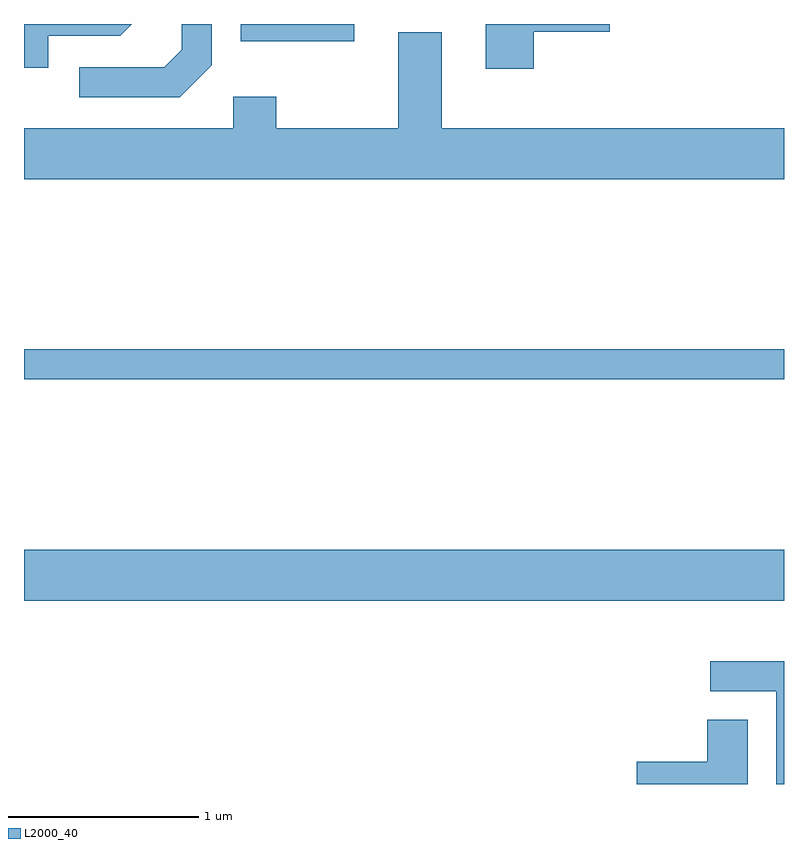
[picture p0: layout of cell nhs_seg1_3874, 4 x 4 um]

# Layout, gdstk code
import gdstk
lib = gdstk.Library(unit=1e-6, precision=1e-09)
def R(c, l, rs):  # rectangles x0, y0, x1, y1
    for r in rs: c.add(gdstk.rectangle(r[:2], r[2:], *l))
def P(c, l, *ps):  # polygons
    for p in ps: c.add(gdstk.Polygon(p, *l))
L2000_40 = (2000, 40)

nhs_seg1_3874 = lib.new_cell('nhs_seg1_3874')
R(nhs_seg1_3874, L2000_40, [(301.611,910.676,305.611,910.944), (301.611,911.841,305.611,911.999), (302.751,913.621,303.349,913.712)])
P(nhs_seg1_3874, L2000_40, [(302.599,913.494),(302.599,913.712),(302.441,913.712),(302.441,913.577),(302.349,913.484),(301.903,913.484),(301.903,913.326),(302.432,913.326)],
  [(304.294,913.671),(304.694,913.671),(304.694,913.712),(304.041,913.712),(304.041,913.476),(304.294,913.476)],
  [(301.739,913.651),(302.117,913.651),(302.178,913.712),(301.611,913.712),(301.611,913.481),(301.739,913.481)],
  [(305.611,913.164),(303.809,913.164),(303.809,913.669),(303.581,913.669),(303.581,913.164),(302.939,913.164),(302.939,913.329),(302.711,913.329),(302.711,913.164),(301.611,913.164),(301.611,912.896),(305.611,912.896)],
  [(305.611,910.359),(305.223,910.359),(305.223,910.201),(305.571,910.201),(305.571,909.712),(305.611,909.712)],
  [(305.419,910.049),(305.206,910.049),(305.206,909.829),(304.836,909.829),(304.836,909.712),(305.419,909.712)])

lib.write_gds('nhs_seg1_3874.gds')
